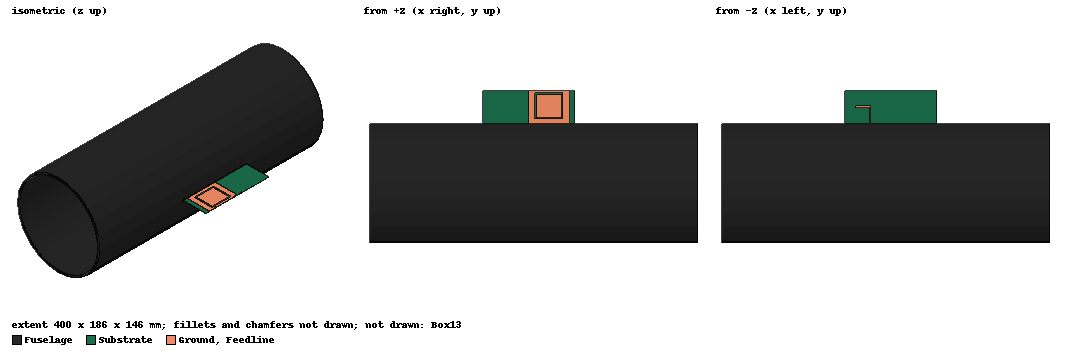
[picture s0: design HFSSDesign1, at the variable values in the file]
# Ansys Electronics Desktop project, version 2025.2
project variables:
  $Radius = 73mm
  $Length = 32mm
  $Width = 34mm
  $Indent = 10mm
  $XOffset = 2.25*25mm+(50mm-$Width)/2
  $YOffset = 5mm
  $ChamferSize = 13mm
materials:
  vacuum: permittivity=1
  copper: permeability=0.999991 conductivity=58000000
  air: permittivity=1.0006 permeability=1.0000004
  graphite: conductivity=70000
  FR4_epoxy: permittivity=4.4 dielectric_loss_tangent=0.02
  cast_iron: permeability=60 conductivity=1500000
  CF - Carbon fiber: conductivity=252.337
  aluminum: permeability=1.000021 conductivity=38000000

design HFSSDesign1 (HFSS, HFSS Terminal Network, model units mm)
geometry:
  Substrate [FR4_epoxy] = box(corner=(50mm, $Radius, 0.4mm), size=((-4.5*25) mm, 40mm, -0.8mm))
  Fuselage [CF - Carbon fiber] = cylinder(axis=X, base_centre=(-200mm, 0mm, 0mm), radius=73mm, height=400mm, segments=24)
  Cylinder3 = cylinder(axis=X, base_centre=(200mm, 0mm, 0mm), radius=70mm, height=-400mm)
  Fuselage.subtract(Cylinder3)
  Box13 [air] = box(corner=(-250mm, 200mm, 100mm), size=(500mm, -400mm, -200mm))
  Coupler [aluminum, non-model] = cylinder(axis=X, base_centre=(-100mm, 0mm, 0mm), radius=70mm, height=200mm, segments=32)
  Cylinder5 = cylinder(axis=X, base_centre=(100mm, 0mm, 0mm), radius=66.5mm, height=-200mm)
  Coupler.subtract(Cylinder5)
  Substrate.chamfer(Edges=Substrate.edge(at (-62.5, 113, 0)) LeftDistance=40mm RightDistance="(2.25*25) mm" ChamferType="Left Distance-Right Distance" ChamferAdditionalGeometryInfo{ChamferEdgeGeometryInfo{ChamferEdgeID=1342 ChamferEdgeSense ChamferEdgeStart{X=-62.5mm Y=113mm Z=0.4mm} ChamferEdgeEnd{X=-62.5mm Y=113mm Z=-0.4mm} ChamferEdgeMid{X=-62.5mm Y=113mm Z=0mm} ChamferEdgeMidTangent(0, 0, -1)}})
  Substrate.chamfer(Edges=Substrate.edge(at (50, 113, 0)) LeftDistance=6.25mm RightDistance=40mm ChamferType="Left Distance-Right Distance" ChamferAdditionalGeometryInfo{ChamferEdgeGeometryInfo{ChamferEdgeID=1343 ChamferEdgeSense ChamferEdgeStart{X=50mm Y=113mm Z=0.4mm} ChamferEdgeEnd{X=50mm Y=113mm Z=-0.4mm} ChamferEdgeMid{X=50mm Y=113mm Z=0mm} ChamferEdgeMidTangent(0, 0, -1)}})
  coordinate_system FinTop = origin=(-62.5mm, 73mm, 0.4mm) x=(1mm, 0mm, 0mm) y=(0mm, 1mm, 0mm)
  AntennaCut = box(corner=($XOffset, $YOffset, 0mm), size=($width, $length, 0mm)) in FinTop
  Box16 = box(corner=($XOffset+2mm, $YOffset+2mm, 0mm), size=($width-4mm, $length-4mm, 0mm)) in FinTop
  Ground [copper] = box(corner=(2.25mm*25, 0, 0), size=((2*25) mm, 40mm, 0.035mm)) in FinTop
  AntennaCut.subtract(Box16)
  AntennaCut.thicken(-0.035mm)
  Box17 = box(corner=(2.25*25mm+25mm -.75mm, 0mm, -0.8mm), size=(1.5mm, $YOffset+$Length/2, -0.035mm)) in FinTop
  Feedline [copper] = box(corner=(2.25*25mm+25mm -.75mm, $YOffset+$Length/2, -0.8mm), size=($Width/2+2mm, -1.5mm, -0.035mm)) in FinTop
  Feedline.unite(Box17)
  Rectangle1 = rectangle(corner=(2.25*25mm+25mm -.75mm, 0mm, -0.835mm), z_size=0.87mm, x_size=1.5mm) in FinTop
  Box18 = box(corner=(2.25*25mm+20mm, $YOffset, 0mm), size=(10mm, $Indent, 0.035mm)) in FinTop
  Box19 = box(corner=(2.25*25mm+20mm, $YOffset+$Length, 0mm), size=(10mm, -$Indent, 0.035mm)) in FinTop
  Box20 = box(corner=(2.25*25mm+18mm, $YOffset, 0mm), size=(10mm+4mm, $Indent+2mm, 0.035mm)) in FinTop
  Box21 = box(corner=(2.25*25mm+18mm, $YOffset+$Length, 0mm), size=(10mm+4mm, -($Indent+2mm), 0.035mm)) in FinTop
  AntennaCut.unite(Box21, Box20)  # suppressed
  AntennaCut.subtract(Box18, Box19)  # suppressed
  Ground.subtract(AntennaCut)
  Feedline.chamfer(Edges=Feedline.edge(at (19.5, 92.5, -0.4175)) LeftDistance=$ChamferSize RightDistance=$ChamferSize ChamferType=Symmetric ChamferAdditionalGeometryInfo{ChamferEdgeGeometryInfo{ChamferEdgeID=4856 ChamferEdgeSense ChamferEdgeStart{X=19.5mm Y=92.5mm Z=-0.435mm} ChamferEdgeEnd{X=19.5mm Y=92.5mm Z=-0.4mm} ChamferEdgeMid{X=19.5mm Y=92.5mm Z=-0.4175mm} ChamferEdgeMidTangent(0, 0, 1)}})
  Feedline.chamfer(Edges=Feedline.edge(at (18, 94, -0.4175)) LeftDistance=$ChamferSize+.75mm*1.4 RightDistance=$ChamferSize+.75mm*1.4 ChamferType=Symmetric ChamferAdditionalGeometryInfo{ChamferEdgeGeometryInfo{ChamferEdgeID=4834 ChamferEdgeSense ChamferEdgeStart{X=18mm Y=94mm Z=-0.4mm} ChamferEdgeEnd{X=18mm Y=94mm Z=-0.435mm} ChamferEdgeMid{X=18mm Y=94mm Z=-0.4175mm} ChamferEdgeMidTangent(0, 0, -1)}})
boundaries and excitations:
  Rad1: Radiation Objects=Box13
  Feedline_T1: Terminal port=1 Faces=Feedline.face(at (18.75, 73, -0.4175)) TerminalResistance=50ohm
  1: Lumped Port Faces=Rectangle1.face LumpedPortType=Terminal Impedance=50ohm
  reference conductors: Ground
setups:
  Setup1: HfssDriven Frequency=2.45GHz MaxDeltaS=0.02 MaximumPasses=10 MinimumPasses=1 MinimumConvergedPasses=1 PercentRefinement=30 BasisOrder=1 PortAccuracy=2 DrivenSolverType="Direct Solver"
    sweep Sweep: 2000MHz to 3000MHz, 100 points; Type=Discrete SaveFields
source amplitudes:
  1:1: 1V 0deg
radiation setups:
  Infinite Sphere1: Infinite Sphere Theta=0deg..180deg step 2deg Phi=-180deg..180deg step 2deg
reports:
  Terminal S Parameter Plot1: dB(St(Feedline_T1,Feedline_T1)) vs Freq on Setup1 : Sweep
  Axial Ratio Plot1: dB(AxialRatioValue) vs Freq on Setup1 : Sweep, Infinite Sphere1 [Phi=0deg Theta=0deg]
  Terminal VSWR Plot1: VSWRt(Feedline_T1) vs Freq on Setup1 : Sweep [$ChamferSize=all]
  Gain Plot1: dB(GainTotal) vs Phi, Theta on Setup1 : LastAdaptive, Infinite Sphere1 [Freq=2.45GHz]
